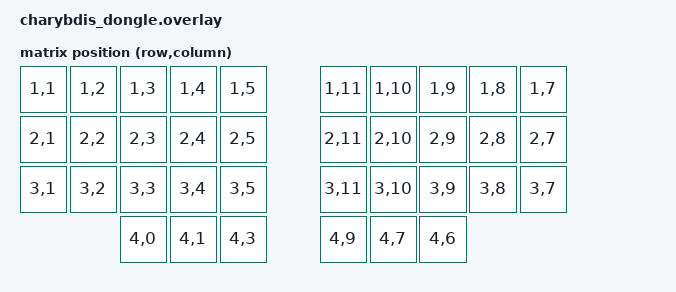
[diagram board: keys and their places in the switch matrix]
/*
 * Copyright (c) 2026
 * SPDX-License-Identifier: MIT
 */

#include <dt-bindings/zmk/matrix_transform.h>
#include <physical_layouts.dtsi>
#include "charybdis-layouts.dtsi"

/ {
    chosen {
        zmk,kscan = &kscan0;
        zmk,physical-layout = &physical_layout2;
    };

    matrix_transform2: keymap_transform_2 {
        compatible = "zmk,matrix-transform";
        columns = <12>;
        rows = <5>;
        map = <
            RC(1,1) RC(1,2) RC(1,3) RC(1,4) RC(1,5) RC(1,11) RC(1,10) RC(1,9) RC(1,8) RC(1,7)
            RC(2,1) RC(2,2) RC(2,3) RC(2,4) RC(2,5) RC(2,11) RC(2,10) RC(2,9) RC(2,8) RC(2,7)
            RC(3,1) RC(3,2) RC(3,3) RC(3,4) RC(3,5) RC(3,11) RC(3,10) RC(3,9) RC(3,8) RC(3,7)
            RC(4,0) RC(4,1)         RC(4,3)                   RC(4,9)          RC(4,7) RC(4,6)
        >;
    };

    kscan0: kscan_0 {
        compatible = "zmk,kscan-mock";
        columns = <0>;
        rows = <0>;
        events = <>;
    };
};
